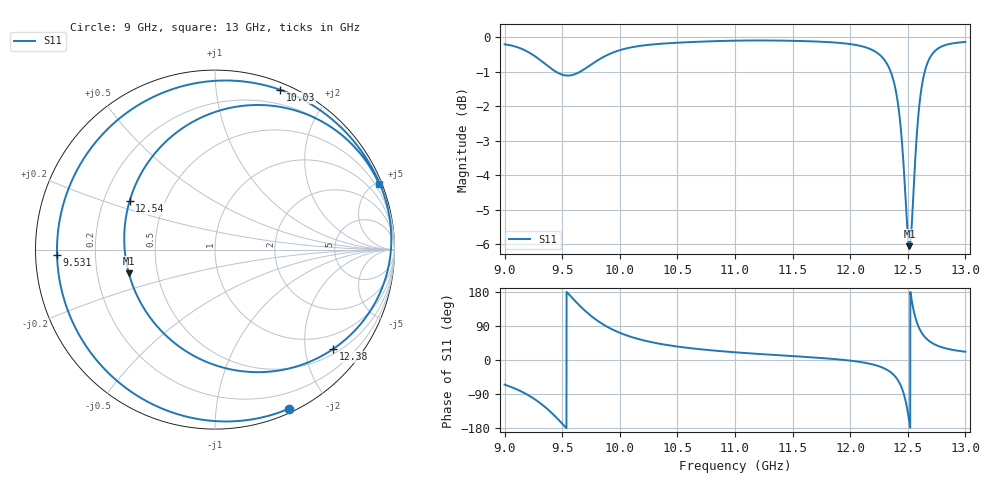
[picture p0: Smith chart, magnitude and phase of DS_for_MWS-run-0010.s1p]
! TOUCHSTONE file generated by CST DESIGN STUDIO
! Date and time: Tue Feb  4 14:01:49 2025
! Project name: C:\Work\MatlabApps\UnitCellOptimizationMatlab\CST\unitcell.cst
! Tree item: Tasks\Sweep1\SPara1\S-Parameters
! Header version: 2024
! Port assignment regex: !\s*Touchstone port\s*([0-9]+)\s*=\s*(CST MWS port|CST DES external port|CST DES block port)\s*(.+)\s* \(\"(.*)\"\)(\s*mode\s*([0-9]+))?.*
! Touchstone port assignment:
! Touchstone port 1 = CST DES external port 1 ("")
# GHz S MA R 50
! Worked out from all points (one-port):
!   4001 points, 9 GHz to 13 GHz, reference 50 ohm
!   lowest |S11| = -6.1 dB at 12.51 GHz (marker M1), VSWR 2.98, Z = 17 - j5.98 ohm
!   |S11| at or under -10 dB: nowhere
!   S11 on the Smith chart (normalised r, x): 9 GHz: 0.04, -1.57; 9.531 GHz: 0.06, -0.02; 10.03 GHz: 0.06, +1.49; 12.38 GHz: 0.62, -2.62; 12.54 GHz: 0.31, +0.24; 13 GHz: 0.21, +5.18
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9  0.9771 -65.1
9.169  0.9591 -86.7
9.287  0.933 -108.9
9.391  0.9047 -134.7
9.5  0.883 -167.8
9.531  0.8807 -177.9
9.624  0.8862 152.0
9.748  0.9125 117.1
9.857  0.9365 93.6
10  0.9582 71.8
10.034  0.9618 67.7
10.234  0.9748 49.8
10.5  0.9824 35.5
11  0.9892 20.4
11.5  0.9887 10.3
12  0.978 -1.7
12.257  0.9433 -17.3
12.38  0.8607 -40.0
12.454  0.6887 -78.8
12.5  0.517 -138.0
12.514  0.4979 -164.6
12.538  0.5476 150.3
12.567  0.6758 110.8
12.596  0.7852 85.9
12.642  0.8849 62.7
12.696  0.937 47.7
12.808  0.9724 32.5
13  0.985 21.8
